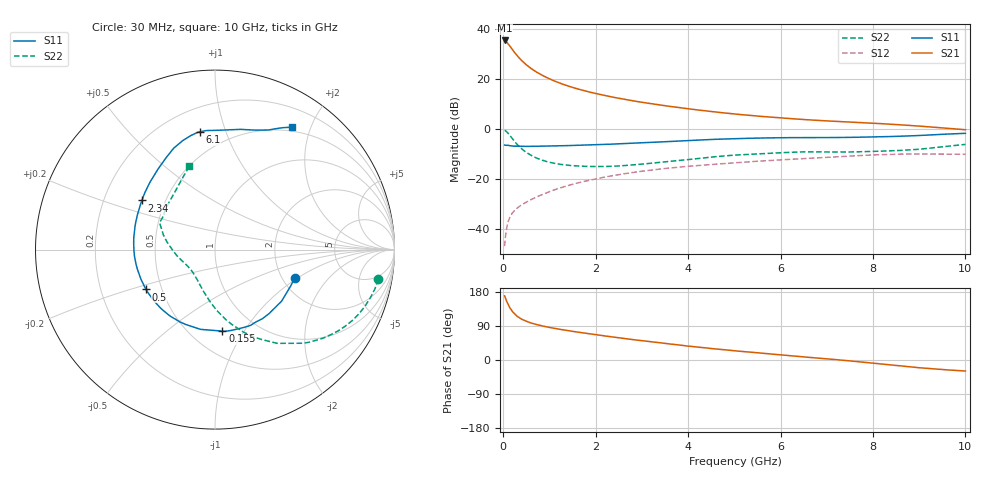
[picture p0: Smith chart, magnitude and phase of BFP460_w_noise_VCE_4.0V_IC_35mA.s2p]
! (c) 2016  Infineon Technologies AG, Munich
! Infineon Technologies  Discrete & RF Semiconductors
! BFP460
! VCE =  4.0 V,  IC =  35 mA
! Common Emitter S-Parameters:  Jan 2016
# GHz  S  MA  R  50
!  f  S11  S21  S12  S22
! GHz  MAG  ANG  MAG  ANG  MAG  ANG  MAG  ANG
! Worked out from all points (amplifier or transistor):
!   229 points, 30 MHz to 10 GHz, reference 50 ohm
!   highest |S21| = 35.2 dB at 30 MHz (marker M1)
!   |S21| within 3 dB of that: start of sweep to 172.6 MHz
!   unconditionally stable (mu >= 1): 1.425 GHz to 7.535 GHz
!   at 280 MHz: K = 0.54, MSG = 30.9 dB, |S12| = -32.1 dB
!   at 1.78 GHz: K = 1.02, MAG = 17.1 dB, |S12| = -20.9 dB
!   at 10 GHz: K = 0.97, MSG = 4.9 dB, |S12| = -10.2 dB
!   lowest NFmin = 1.56 dB at 450 MHz
!   S11 on the Smith chart (normalised r, x): 30 MHz: 2.33, -0.95; 155 MHz: 0.70, -0.81; 500 MHz: 0.41, -0.23; 2.34 GHz: 0.37, +0.27; 6.1 GHz: 0.35, +0.82; 10 GHz: 0.44, +1.73
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0.03  0.4714 -19.6  57.86 169.2  0.0045 83.9  0.9244 -10.3
0.05  0.466 -32.0  55.9 162.3  0.0072 77.5  0.906 -17.3
0.07  0.4649 -44.7  54.15 156.2  0.0098 75.0  0.8775 -24.2
0.09  0.467 -55.5  51.66 150.6  0.0121 71.2  0.8407 -30.6
0.12  0.4622 -70.2  47.7 143.0  0.015 66.5  0.7805 -39.1
0.155  0.456 -84.8  43.1 135.6  0.0178 63.3  0.7089 -47.4
0.2  0.4516 -100.3  37.87 127.7  0.0209 59.9  0.6262 -56.5
0.24  0.4478 -111.1  33.85 122.3  0.023 58.3  0.5632 -62.7
0.3  0.447 -124.1  28.88 115.5  0.0258 57.0  0.486 -71.0
0.4  0.4438 -139.3  22.93 107.6  0.0301 56.8  0.3954 -81.1
0.5  0.4441 -150.0  18.89 102.1  0.0341 57.6  0.3352 -88.8
0.7  0.4459 -164.5  13.87 94.1  0.0423 59.3  0.264 -100.5
0.9  0.4498 -174.4  10.94 88.4  0.0509 60.5  0.2258 -109.4
1.2  0.4551 174.5  8.294 81.5  0.0641 60.9  0.1963 -119.8
1.7  0.4675 160.6  5.912 72.0  0.0864 59.3  0.1781 -132.8
2.34  0.491 146.1  4.325 61.3  0.1143 55.2  0.1774 -147.6
3.4  0.5425 127.1  2.965 45.3  0.1565 46.4  0.212 -169.9
5.1  0.6359 105.7  1.928 23.4  0.2108 33.1  0.2995 164.0
6.1  0.6618 97.3  1.619 12.4  0.2414 25.5  0.334 155.9
6.8  0.6641 91.4  1.466 5.2  0.261 20.5  0.3433 152.7
8.4  0.6977 72.8  1.226 -13.3  0.3075 6.2  0.3616 137.1
10  0.8074 57.7  0.953 -29.1  0.3077 -6.4  0.4857 107.1
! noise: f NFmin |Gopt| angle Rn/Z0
0.45  1.56  0.23  -168  0.12
0.9  1.59  0.2  -163  0.13
1.9  1.71  0.31  -143  0.14
3.5  1.58  0.54  -119  0.2
